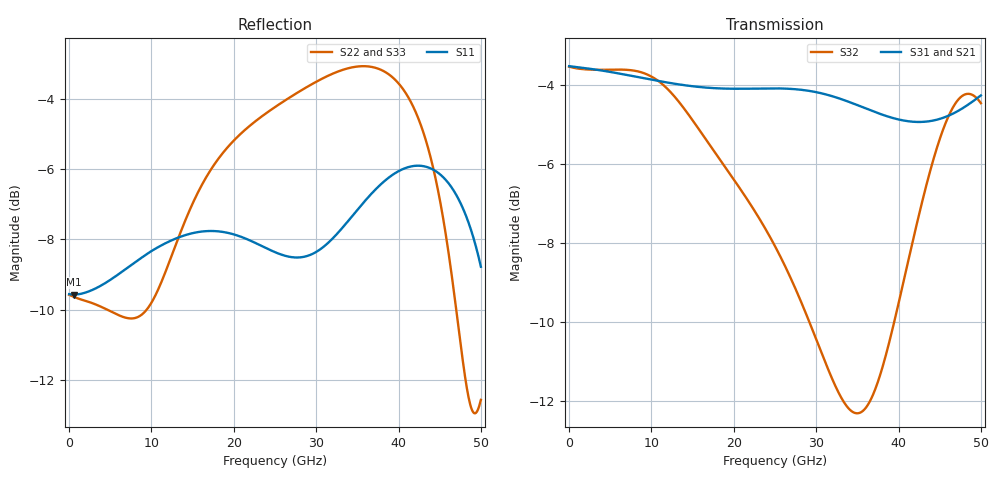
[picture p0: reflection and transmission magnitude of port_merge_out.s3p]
! Created with skrf (http://scikit-rf.org).
# GHz S RI R 50.0
!freq ReS11 ImS11 ReS12 ImS12 ReS13 ImS13
! ReS21 ImS21 ReS22 ImS22 ReS23 ImS23
! ReS31 ImS31 ReS32 ImS32 ReS33 ImS33
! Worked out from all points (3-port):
!   500 points, 10 MHz to 50 GHz, reference 50 ohm
!   strongest paths, dB at 10 MHz, 12.53 GHz, 25.06 GHz, 37.58 GHz, 50 GHz:
!     S31: -3.5, -4.0, -4.1, -4.7, -4.3
!     S21: -3.5, -4.0, -4.1, -4.7, -4.3
!     S32: -3.5, -4.2, -8.1, -11.5, -4.5
!   lowest |S11| = -9.6 dB at 611.1 MHz (marker M1), VSWR 2.00, Z = 25.1 + j0.316 ohm
!   |S11| at or under -10 dB: nowhere
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0.01  -0.3326 0.000122  0.6663 -0.00101  0.6663 -0.00101
      0.6663 -0.00101  -0.3318 0.000914  0.6654 -0.0018
      0.6663 -0.00101  0.6654 -0.0018  -0.3318 0.000914
0.6110822  -0.3322 0.00561  0.6626 -0.0583  0.6626 -0.0583
           0.6626 -0.0583  -0.3257 0.0499  0.6551 -0.1025
           0.6626 -0.0583  0.6551 -0.1025  -0.3257 0.0499
6.121002  -0.3492 0.0684  0.4289 -0.4912  0.4289 -0.4912
          0.4289 -0.4912  0.0268 0.309  -0.00772 -0.6597
          0.4289 -0.4912  -0.00772 -0.6597  0.0267 0.3091
10.92966  -0.3468 0.1754  0.0415 -0.6366  0.0416 -0.6366
          0.0415 -0.6366  0.3134 -0.1319  -0.6322 -0.0793
          0.0416 -0.6366  -0.6322 -0.0793  0.3135 -0.1317
16.3394  -0.2425 0.3288  -0.3822 -0.496  -0.3822 -0.4962
         -0.3822 -0.496  -0.2909 -0.3826  -0.0857 0.5366
         -0.3822 -0.4962  -0.0857 0.5366  -0.2907 -0.3826
25.05509  0.2141 0.3157  -0.6035 0.1598  -0.6037 0.1599
          -0.6035 0.1598  -0.4225 0.4458  0.3901 -0.0503
          -0.6037 0.1599  0.3901 -0.0503  -0.4224 0.4457
31.96754  0.3579 -0.1757  -0.2082 0.5737  -0.2081 0.5738
          -0.2082 0.5737  0.2034 0.6533  -0.0222 -0.2665
          -0.2081 0.5738  -0.0222 -0.2665  0.2037 0.6532
38.67962  -0.0653 -0.4813  0.3048 0.4885  0.3046 0.4882
          0.3048 0.4885  0.675 0.1158  -0.2462 0.158
          0.3046 0.4882  -0.2462 0.158  0.6753 0.1155
44.69044  -0.4214 -0.2616  0.5538 0.1373  0.5532 0.1377
          0.5538 0.1373  0.1813 -0.4377  0.3263 0.4129
          0.5532 0.1377  0.3263 0.4129  0.1816 -0.4383
50  -0.3596 0.0552  0.5417 -0.2837  0.5424 -0.283
    0.5417 -0.2837  -0.1826 0.1484  0.4632 -0.3785
    0.5424 -0.283  0.4632 -0.3785  -0.1828 0.1473
